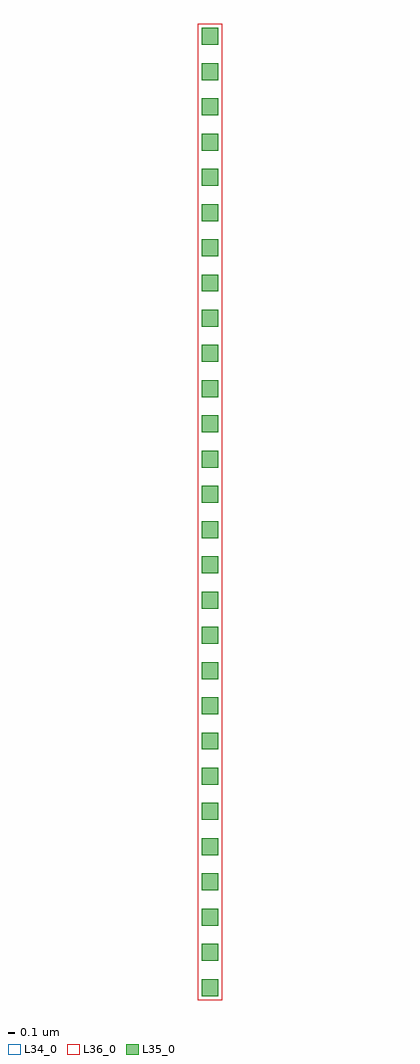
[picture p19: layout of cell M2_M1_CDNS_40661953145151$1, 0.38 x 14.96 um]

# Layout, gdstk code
import gdstk
lib = gdstk.Library(unit=1e-6, precision=1e-09)
def R(c, l, rs):  # rectangles x0, y0, x1, y1
    for r in rs: c.add(gdstk.rectangle(r[:2], r[2:], *l))
def A(c, l, x, y, w, h, nx, ny, dx, dy):  # array of equal rectangles
    R(c, l, [(x+i*dx, y+j*dy, x+i*dx+w, y+j*dy+h) for i in range(nx) for j in range(ny)])
L34_0 = (34, 0)
L35_0 = (35, 0)
L36_0 = (36, 0)

m2_m1_cdns_4066195314515 = lib.new_cell('M2_M1_CDNS_40661953145151$1')
R(m2_m1_cdns_4066195314515, L34_0, [(-0.19,-7.48,0.19,7.48)])
A(m2_m1_cdns_4066195314515, L35_0, -0.13, -7.42, 0.26, 0.26, 1, 28, 0, 0.54)
R(m2_m1_cdns_4066195314515, L36_0, [(-0.19,-7.48,0.19,7.48)])

lib.write_gds('M2_M1_CDNS_40661953145151_1.gds')
